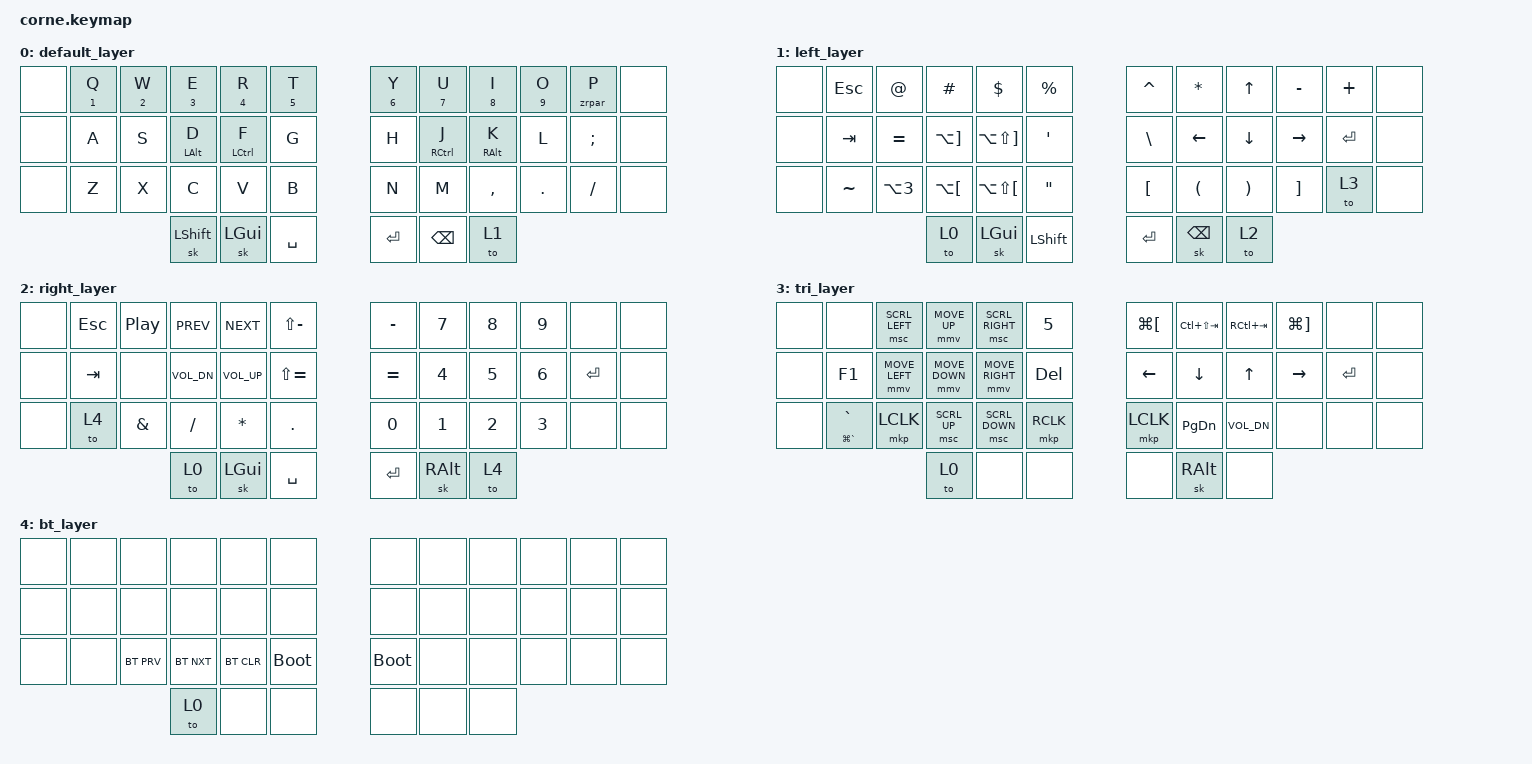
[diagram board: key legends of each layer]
/*
 * Copyright (c) 2020 The ZMK Contributors
 *
 * SPDX-License-Identifier: MIT
 */

#include <behaviors.dtsi>
#include <dt-bindings/zmk/keys.h>
#include <dt-bindings/zmk/bt.h>
#include <dt-bindings/zmk/pointing.h>


#define ZMK_POINTING_DEFAULT_MOVE_VAL 2000  // default: 600
#define ZMK_POINTING_DEFAULT_SCRL_VAL 20 

&mt {
    flavor = "tap-preferred";
    tapping_term_ms = <200>;
};

/ { 

	kscan: kscan {
        compatible = "zmk,kscan-gpio-matrix";
        diode-direction = "col2row";
        wakeup-source;
    };


    behaviors {
        hm: homerow_mods {
            compatible = "zmk,behavior-hold-tap";
            label = "HOMEROW_MODS";
            #binding-cells = <2>;
            tapping-term-ms = <200>;
            quick_tap_ms = <0>;
            flavor = "tap-preferred";
            bindings = <&kp>, <&kp>;
        };

		oexcl: one_exclamation {
            compatible = "zmk,behavior-mod-morph";
            #binding-cells = <0>;
            bindings = <&kp NUMBER_1>, <&kp EXCLAMATION>;
            mods = <(MOD_LSFT|MOD_RSFT)>;
        };

		twat: two_at_sign {
            compatible = "zmk,behavior-mod-morph";
            #binding-cells = <0>;
            bindings = <&kp NUMBER_2>, <&kp AT_SIGN>;
            mods = <(MOD_LSFT|MOD_RSFT)>;
        };

		thhash: three_hash {
            compatible = "zmk,behavior-mod-morph";
            #binding-cells = <0>;
            bindings = <&kp NUMBER_3>, <&kp HASH>;
            mods = <(MOD_LSFT|MOD_RSFT)>;
        };

		fodllr: four_dollar {
            compatible = "zmk,behavior-mod-morph";
            #binding-cells = <0>;
            bindings = <&kp NUMBER_4>, <&kp DOLLAR>;
            mods = <(MOD_LSFT|MOD_RSFT)>;
        };

        fiper: five_percent {
            compatible = "zmk,behavior-mod-morph";
            #binding-cells = <0>;
            bindings = <&kp NUMBER_5>, <&kp PERCENT>;
            mods = <(MOD_LSFT|MOD_RSFT)>;
        };

        sicar: six_caret {
            compatible = "zmk,behavior-mod-morph";
            #binding-cells = <0>;
            bindings = <&kp NUMBER_6>, <&kp CARET>;
            mods = <(MOD_LSFT|MOD_RSFT)>;
        };

        seamp: seven_ampersand {
            compatible = "zmk,behavior-mod-morph";
            #binding-cells = <0>;
            bindings = <&kp NUMBER_7>, <&kp AMPERSAND>;
            mods = <(MOD_LSFT|MOD_RSFT)>;
        };

        east: eight_asterisk {
            compatible = "zmk,behavior-mod-morph";
            #binding-cells = <0>;
            bindings = <&kp NUMBER_8>, <&kp ASTERISK>;
            mods = <(MOD_LSFT|MOD_RSFT)>;
        };

        nlpar: nine_left_parenthesis {
            compatible = "zmk,behavior-mod-morph";
            #binding-cells = <0>;
            bindings = <&kp NUMBER_9>, <&kp LEFT_PARENTHESIS>;
            mods = <(MOD_LSFT|MOD_RSFT)>;
        };

        zrpar: zero_right_parenthesis {
            compatible = "zmk,behavior-mod-morph";
            #binding-cells = <0>;
            bindings = <&kp NUMBER_0>, <&kp RIGHT_PARENTHESIS>;
            mods = <(MOD_LSFT|MOD_RSFT)>;
        };

		qoexcl: q_oexcl {
            compatible = "zmk,behavior-hold-tap";
            label = "Q_ONE_EXCL_MOD";
            #binding-cells = <2>;
            tapping-term-ms = <200>;
            quick_tap_ms = <0>;
            flavor = "tap-preferred";
            bindings = <&oexcl>, <&kp>;
        };

		wtwat: w_twat {
            compatible = "zmk,behavior-hold-tap";
            label = "W_TWO_AT_MOD";
            #binding-cells = <2>;
            tapping-term-ms = <200>;
            quick_tap_ms = <0>;
            flavor = "tap-preferred";
            bindings = <&twat>, <&kp>;
        };

        ethhash: e_thhash {
            compatible = "zmk,behavior-hold-tap";
            label = "E_THREE_HASH_MOD";
            #binding-cells = <2>;
            tapping-term-ms = <200>;
            quick_tap_ms = <0>;
            flavor = "tap-preferred";
            bindings = <&thhash>, <&kp>;
        };

        rfodllr: r_fodllr {
            compatible = "zmk,behavior-hold-tap";
            label = "R_FOUR_DOLLAR_MOD";
            #binding-cells = <2>;
            tapping-term-ms = <200>;
            quick_tap_ms = <0>;
            flavor = "tap-preferred";
            bindings = <&fodllr>, <&kp>;
        };

        tfiper: t_fiper {
            compatible = "zmk,behavior-hold-tap";
            label = "T_FIVE_PERCENT_MOD";
            #binding-cells = <2>;
            tapping-term-ms = <200>;
            quick_tap_ms = <0>;
            flavor = "tap-preferred";
            bindings = <&fiper>, <&kp>;
        };

        ysicar: y_sicar {
            compatible = "zmk,behavior-hold-tap";
            label = "Y_SIX_CARET_MOD";
            #binding-cells = <2>;
            tapping-term-ms = <200>;
            quick_tap_ms = <0>;
            flavor = "tap-preferred";
            bindings = <&sicar>, <&kp>;
        };

        useamp: u_seamp {
            compatible = "zmk,behavior-hold-tap";
            label = "U_SEVEN_AMPERSAND_MOD";
            #binding-cells = <2>;
            tapping-term-ms = <200>;
            quick_tap_ms = <0>;
            flavor = "tap-preferred";
            bindings = <&seamp>, <&kp>;
        };

        ieast: i_east {
            compatible = "zmk,behavior-hold-tap";
            label = "I_EIGHT_ASTERISK_MOD";
            #binding-cells = <2>;
            tapping-term-ms = <200>;
            quick_tap_ms = <0>;
            flavor = "tap-preferred";
            bindings = <&east>, <&kp>;
        };

        onlpar: o_nlpar {
            compatible = "zmk,behavior-hold-tap";
            label = "O_NINE_LEFT_PAR_MOD";
            #binding-cells = <2>;
            tapping-term-ms = <200>;
            quick_tap_ms = <0>;
            flavor = "tap-preferred";
            bindings = <&nlpar>, <&kp>;
        };

        pzrpar: p_zrpar {
            compatible = "zmk,behavior-hold-tap";
            label = "P_ZERO_RIGHT_PAR_MOD";
            #binding-cells = <2>;
            tapping-term-ms = <200>;
            quick_tap_ms = <0>;
            flavor = "tap-preferred";
            bindings = <&zrpar>, <&kp>;
        };
		
		td: tapdance {
            compatible = "zmk,behavior-hold-tap";
            label = "TAPDANCE";
            #binding-cells = <2>;
            tapping-term-ms = <150>;
            quick_tap_ms = <0>;
            flavor = "tap-preferred";
            bindings = <&kp>, <&kp>;
        };		
    };

    keymap {
		compatible = "zmk,keymap";
            
    	default_layer {
            // -----------------------------------------------------------------------------------------
            // | none |1 Q !|2 W @|3 E #|4 R $|5 T %|   |6 Y ^|7 U  &|8 I *|9 O (|0 P )| none |
            // | none |  A  |  S  |  D  |  F  |  G  |   |  H  |  J   |  K  |  L  |  ;  | none |
            // | none |  Z  |  X  |  C  |  V  |  B  |   |  N  |  M   |  ,  |  .  |  /  | none |
            //                    | LST | GUI | SPC |   | ENT | BSPC | TO |
			bindings = <
				&none    &qoexcl 1 Q    &wtwat 2 W    &ethhash 3 E    &rfodllr 4 R    &tfiper 5 T 				&ysicar 6 Y    &useamp 7 U    &ieast 8 I    &onlpar 9 O    &pzrpar 0 P    &none
				&none    &kp A          &kp S         &hm LALT D      &hm LCTRL F     &kp G 			       	&kp H          &hm RCTRL J    &hm RALT K    &kp L          &kp SEMI       &none
				&none    &kp Z          &kp X         &kp C           &kp V           &kp B				        &kp N          &kp M          &kp COMMA     &kp DOT        &kp FSLH       &none
    			  			                                  &sk LSHIFT    &sk LGUI    &kp SPACE               &kp RET    &kp BACKSPACE    &to 1
			>;
		};

    	left_layer {
            // -----------------------------------------------------------------------------------------
            // | none |  ESC  |  @  |  *  |  $  |  %  |   |  ^  |  <   |  >  |  ;  | BSPC | none |
            // | none |  TAB  |  =  |  *  |  *  |  '  |   |  \  |  {   |  }  |  |  | RET  | none |
            // | none |   ~   |ALT 3|  *  |  *  |  "  |   |  [  |  (   |  )  |  ]  | TO3  | none |
            //                    | GUI | LWR | SPC |   | ENT | RSE  | ALT |
			bindings = <
				&none    &kp ESC      &kp AT        &kp HASH        &kp DLLR            &kp PRCNT		                &kp CARET    &kp ASTERISK      &kp UP_ARROW      &kp MINUS          &kp PLUS    &none
				&none    &kp TAB      &kp EQUAL     &kp LA(RBKT)    &kp LA(LS(RBKT))    &kp SQT 		                &kp BSLH     &kp LEFT_ARROW    &kp DOWN_ARROW    &kp RIGHT_ARROW    &kp ENTER   &none
				&none    &kp TILDE    &kp LA(N3)    &kp LA(LBKT)    &kp LA(LS(LBKT))    &kp DQT                         &kp LBKT     &kp LPRN          &kp RPRN          &kp RBKT           &to 3       &none
							                                      &to 0    &sk LGUI    &kp LSHIFT                       &kp RET    &sk BACKSPACE    &to 2 
			>;
		};
	
		right_layer {
			bindings = <
				&none    &kp ESC    &kp C_PP    &kp C_PREV      &kp C_NEXT      &kp LS(MINUS)    		                        &kp MINUS    &kp N7    &kp N8    &kp N9    &none       &none 
				&none    &kp TAB    &none      &kp C_VOL_DN    &kp C_VOL_UP    &kp LS(EQUAL) 			                        &kp EQUAL    &kp N4    &kp N5    &kp N6    &kp ENTER    &none 
				&none    &to 4      &kp AMPS    &kp SLASH       &kp STAR        &kp DOT    			                        &kp N0       &kp N1    &kp N2    &kp N3    &none       &none 
							                        &to 0    &sk LGUI    &kp SPACE                                          &kp RET	   &sk RALT    &to 4 
			>;
		};
						 
		tri_layer {
			bindings = <
				&none    &none                 &msc SCRL_LEFT    &mmv MOVE_UP      &msc SCRL_RIGHT    &kp NUM_5 			&kp LG(LBKT)   &kp LC(LS(TAB))   &kp RC(TAB) &kp LG(RBKT) &none &none
				&none    &kp F1                 &mmv MOVE_LEFT    &mmv MOVE_DOWN    &mmv MOVE_RIGHT    &kp DEL  						&kp LEFT &kp DOWN  &kp UP &kp RIGHT &kp ENTER  &none
				&none    &td LG(GRAVE) GRAVE    &mkp LCLK         &msc SCRL_UP      &msc SCRL_DOWN     &mkp RCLK   				&mkp LCLK &kp PG_DN  &kp K_VOL_DN  &none &none    &none
							 &to 0 &none &none  					&none &sk RALT &none
			>;
		};
		
		bt_layer {
			bindings = <
				&none    &none    &none         &none         &none         &none           								&none          &none    &none    &none    &none    &none
				&none    &none    &none         &none         &none         &none            								&none          &none    &none    &none    &none    &none
				&none    &none    &bt BT_PRV    &bt BT_NXT    &bt BT_CLR    &bootloader       								&bootloader    &none    &none    &none    &none    &none
							 									&to 0    &none    &none  					            &none    &none    &none
			>;
		};	
	};
};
